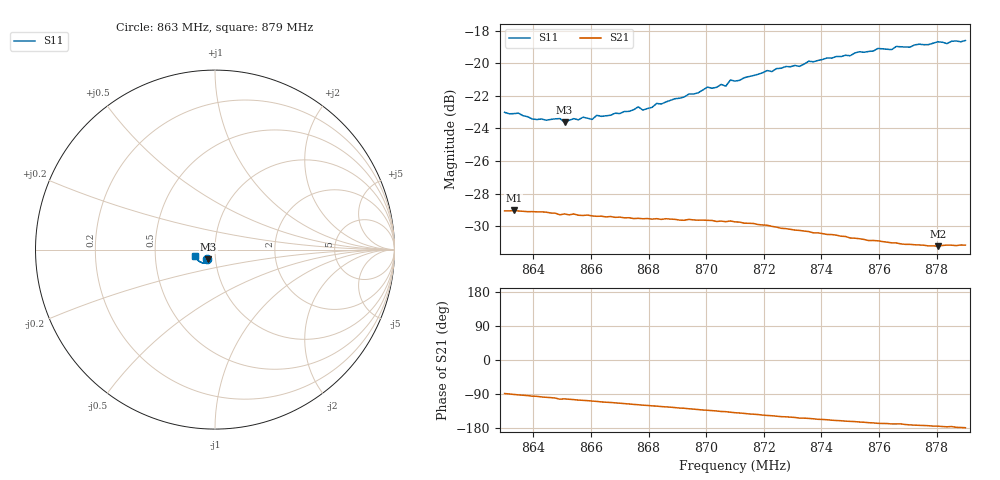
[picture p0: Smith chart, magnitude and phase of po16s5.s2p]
# HZ S RI R 50
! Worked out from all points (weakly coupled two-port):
!   101 points, 863 MHz to 879 MHz, reference 50 ohm
!   highest |S21| = -29.04 dB at 863.32 MHz (marker M1); lowest = -31.2 dB at 878.04 MHz (marker M2)
!   lowest |S11| = -23.6 dB at 865.08 MHz (marker M3), VSWR 1.14, Z = 46.1 - j4.97 ohm
!   |S11| at or under -10 dB: start of sweep to end of sweep
!   S12 and S22 are empty: the file has one direction only
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8.63e8  -0.0449 -0.0546  0.00091 -0.0352  0 0  0 0
8.6332e8  -0.0431 -0.0552  -0.000543 -0.0353  0 0  0 0
8.6412e8  -0.0391 -0.0546  -0.00356 -0.0348  0 0  0 0
8.6492e8  -0.0383 -0.0557  -0.00798 -0.0333  0 0  0 0
8.6508e8  -0.0381 -0.0537  -0.0075 -0.0337  0 0  0 0
8.6572e8  -0.0366 -0.0576  -0.00966 -0.0327  0 0  0 0
8.6604e8  -0.0344 -0.0577  -0.0107 -0.0323  0 0  0 0
8.662e8  -0.0362 -0.059  -0.0112 -0.032  0 0  0 0
8.67e8  -0.0355 -0.0604  -0.0137 -0.0308  0 0  0 0
8.6764e8  -0.0363 -0.0639  -0.0157 -0.0295  0 0  0 0
8.678e8  -0.036 -0.0621  -0.0163 -0.0291  0 0  0 0
8.6844e8  -0.0366 -0.0654  -0.018 -0.0279  0 0  0 0
8.7004e8  -0.0444 -0.0718  -0.0223 -0.0242  0 0  0 0
8.7068e8  -0.0444 -0.0725  -0.0236 -0.0225  0 0  0 0
8.7084e8  -0.0488 -0.0742  -0.0243 -0.022  0 0  0 0
8.71e8  -0.0476 -0.0742  -0.0246 -0.0214  0 0  0 0
8.7212e8  -0.0574 -0.0756  -0.0265 -0.0176  0 0  0 0
8.7372e8  -0.0688 -0.0739  -0.0274 -0.0127  0 0  0 0
8.7596e8  -0.0899 -0.0651  -0.0278 -0.00638  0 0  0 0
8.7644e8  -0.091 -0.0618  -0.0276 -0.00547  0 0  0 0
8.7804e8  -0.1059 -0.048  -0.0273 -0.00261  0 0  0 0
8.79e8  -0.111 -0.0382  -0.0277 -0.000629  0 0  0 0
